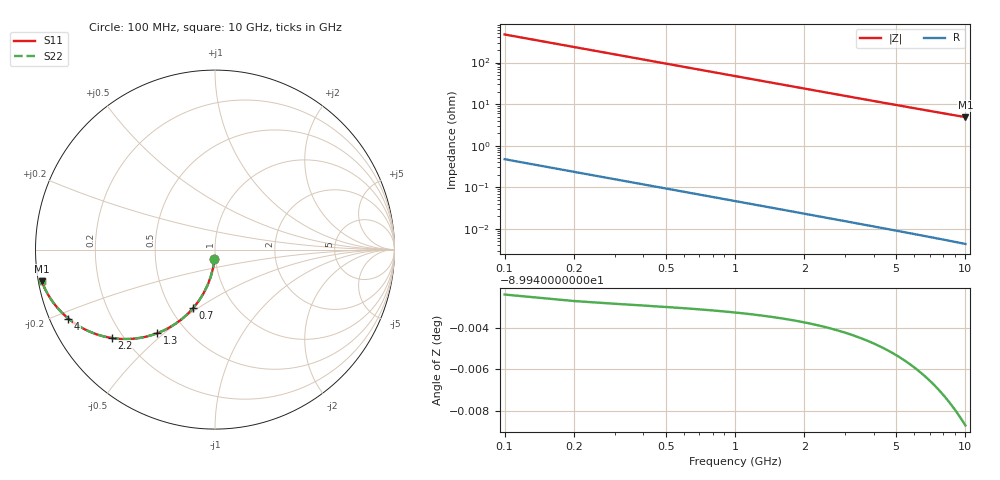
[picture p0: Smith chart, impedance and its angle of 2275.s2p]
# Hz S RI R 50.00
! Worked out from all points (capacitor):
!   100 points, 100 MHz to 10 GHz, reference 50 ohm
!   read as one part in shunt: C = 3.37 pF near 100 MHz
!   lowest |Z| = 4.87 ohm at 10 GHz (marker M1)
!   S11 on the Smith chart (normalised r, x): 100 MHz: 0.99, -0.10; 700 MHz: 0.65, -0.48; 1.3 GHz: 0.35, -0.47; 2.2 GHz: 0.16, -0.36; 4 GHz: 0.05, -0.22; 10 GHz: 0.01, -0.09
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1e8  -0.00283 -0.0528  0.9971 -0.0529  0.9971 -0.0529  -0.00283 -0.0528
2e8  -0.0112 -0.1046  0.9888 -0.1048  0.9888 -0.1048  -0.0112 -0.1046
3e8  -0.0247 -0.1548  0.9752 -0.1551  0.9752 -0.1551  -0.0247 -0.1548
4e8  -0.0431 -0.2024  0.9569 -0.2029  0.9569 -0.2029  -0.0431 -0.2024
5e8  -0.0657 -0.247  0.9343 -0.2476  0.9343 -0.2476  -0.0657 -0.247
6e8  -0.0919 -0.2881  0.9081 -0.2887  0.9081 -0.2887  -0.0919 -0.2881
7e8  -0.121 -0.3253  0.879 -0.326  0.879 -0.326  -0.121 -0.3253
8e8  -0.1523 -0.3584  0.8476 -0.3593  0.8476 -0.3593  -0.1523 -0.3584
1e9  -0.2191 -0.4126  0.7809 -0.4137  0.7809 -0.4137  -0.2191 -0.4126
1.3e9  -0.3214 -0.4658  0.6785 -0.4672  0.6785 -0.4672  -0.3214 -0.4658
1.5e9  -0.3866 -0.4857  0.6134 -0.4873  0.6134 -0.4873  -0.3866 -0.4857
1.8e9  -0.4755 -0.4979  0.5244 -0.4999  0.5244 -0.4999  -0.4755 -0.4979
2.2e9  -0.575 -0.4927  0.425 -0.495  0.425 -0.495  -0.575 -0.4927
2.5e9  -0.6358 -0.4793  0.3642 -0.482  0.3642 -0.482  -0.6358 -0.4793
2.8e9  -0.6863 -0.462  0.3136 -0.465  0.3136 -0.465  -0.6863 -0.462
3.4e9  -0.7631 -0.4228  0.2368 -0.4265  0.2368 -0.4265  -0.7631 -0.4228
4e9  -0.8166 -0.3843  0.1833 -0.3886  0.1833 -0.3886  -0.8166 -0.3843
4.5e9  -0.8492 -0.3549  0.1507 -0.3598  0.1507 -0.3598  -0.8492 -0.3549
5.1e9  -0.8784 -0.3235  0.1215 -0.329  0.1215 -0.329  -0.8784 -0.3235
6.7e9  -0.9256 -0.2581  0.0743 -0.2655  0.0743 -0.2655  -0.9256 -0.2581
8.4e9  -0.9514 -0.2098  0.0486 -0.2192  0.0486 -0.2192  -0.9514 -0.2098
1e10  -0.9652 -0.177  0.0347 -0.1882  0.0347 -0.1882  -0.9652 -0.177
